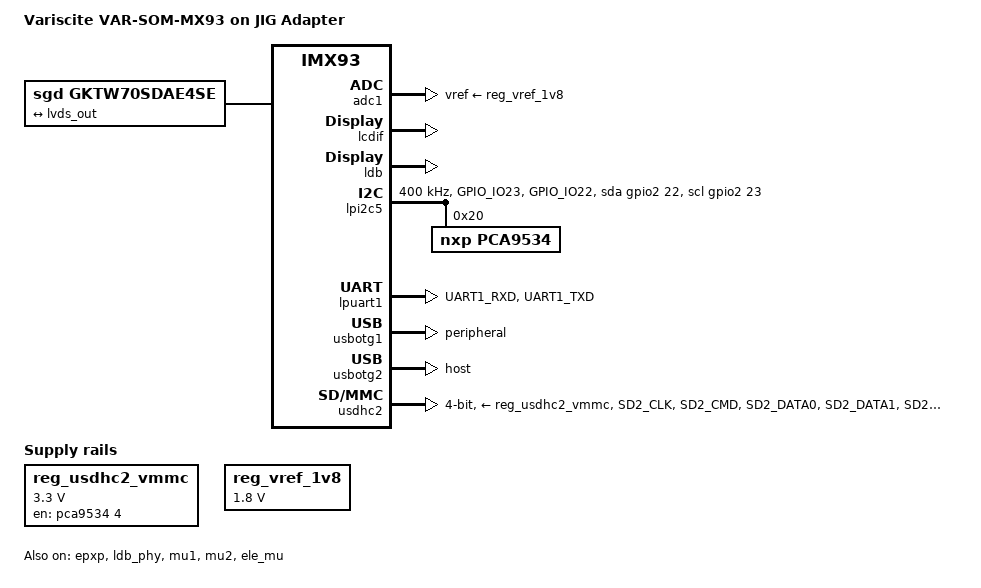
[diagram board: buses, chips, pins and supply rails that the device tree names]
// SPDX-License-Identifier: (GPL-2.0+ OR MIT)
/*
 * Copyright 2022 NXP
 * Copyright 2023 Variscite Ltd.
 */

/dts-v1/;

#include "imx93-var-som.dtsi"

/ {
	model = "Variscite VAR-SOM-MX93 on JIG Adapter";

	aliases {
		gpio4 = &pca9534;
		ethernet0 = &eqos;
	};

	chosen {
		stdout-path = &lpuart1;
	};

	cm33: imx93-cm33 {
		status="disable";
	};

	ethosu {
		status="disable";
	};

#if 0
	panel-dsi {
		compatible = "panel-lvds";
		width-mm = <153>;
		height-mm = <87>;
		label = "gktw70sdae4se";
		data-mapping = "vesa-24";
		status = "okay";

		panel-timing {
			clock-frequency = <33000000>;
			hactive = <800>;
			vactive = <480>;
			hback-porch = <40>;
			hfront-porch = <40>;
			vback-porch = <29>;
			vfront-porch = <13>;
			hsync-len = <48>;
			vsync-len = <3>;
			hsync-active = <0>;
			vsync-active = <0>;
			de-active = <1>;
			pixelclk-active = <0>;
		};

		port {
			panel_in_bridge: endpoint {
				remote-endpoint = <&panel_dsi_in>;
			};
		};
	};
#endif

	lvds_panel {
		compatible = "sgd,gktw70sdae4se", "panel-lvds";
		width-mm = <153>;
		height-mm = <87>;
		label = "gktw70sdae4se";
		data-mapping = "vesa-24";
		status = "okay";
		
		panel-timing {
			clock-frequency = <33000000>;
			hactive = <800>;
			vactive = <480>;
			hback-porch = <40>;
			hfront-porch = <40>;
			vback-porch = <29>;
			vfront-porch = <13>;
			hsync-len = <48>;
			vsync-len = <3>;
			hsync-active = <0>;
			vsync-active = <0>;
			de-active = <1>;
			pixelclk-active = <0>;
		};

		port {
			panel_lvds_in: endpoint {
				remote-endpoint = <&lvds_out>;
			};
		};
	};

	reg_usdhc2_vmmc: regulator-usdhc2 {
		compatible = "regulator-fixed";
		regulator-name = "VSD_3V3";
		regulator-min-microvolt = <3300000>;
		regulator-max-microvolt = <3300000>;
		gpio = <&pca9534 4 GPIO_ACTIVE_HIGH>;
		off-on-delay-us = <200000>;
		startup-delay-us = <200000>;
		enable-active-high;
	};

	reg_vref_1v8: regulator-adc-vref {
		compatible = "regulator-fixed";
		regulator-name = "vref_1v8";
		regulator-min-microvolt = <1800000>;
		regulator-max-microvolt = <1800000>;
	};

	reserved-memory {
		#address-cells = <2>;
		#size-cells = <2>;
		ranges;

		linux,cma {
			compatible = "shared-dma-pool";
			reusable;
			size = <0 0x4000000>;
			linux,cma-default;
		};

		ethosu_mem: ethosu_region@88000000 {
			compatible = "shared-dma-pool";
			reusable;
			reg = <0x0 0x88000000 0x0 0x8000000>;
		};

		vdev0vring0: vdev0vring0@87ee0000 {
			reg = <0 0x87ee0000 0 0x8000>;
			no-map;
		};

		vdev0vring1: vdev0vring1@87ee8000 {
			reg = <0 0x87ee8000 0 0x8000>;
			no-map;
		};

		vdev1vring0: vdev1vring0@87ef0000 {
			reg = <0 0x87ef0000 0 0x8000>;
			no-map;
		};

		vdev1vring1: vdev1vring1@87ef8000 {
			reg = <0 0x87ef8000 0 0x8000>;
			no-map;
		};

		rsc_table: rsc_table@2021f000 {
			reg = <0 0x2021f000 0 0x1000>;
			no-map;
		};

		vdevbuffer: vdevbuffer@87f00000 {
			compatible = "shared-dma-pool";
			reg = <0 0x87f00000 0 0x100000>;
			no-map;
		};
	};

	clk_ov5640_fixed: clock {
		#clock-cells = <0>;
		compatible = "fixed-clock";
		clock-frequency = <12000000>;
	};
};

&adc1 {
	vref-supply = <&reg_vref_1v8>;
	status = "okay";
};

/* Use external instead of internal RTC*/
&bbnsm_rtc {
	status = "disabled";
};

&epxp {
	status = "okay";
};

&iomuxc {
	pinctrl-names = "default";
	pinctrl-0 = <&pinctrl_hog>;
	
	pinctrl_hog: hoggrp {
		fsl,pins = <
			MX93_PAD_WDOG_ANY__GPIO1_IO15			0x400011FE
			MX93_PAD_GPIO_IO26__GPIO2_IO26			0x400011FE
			MX93_PAD_GPIO_IO21__GPIO2_IO21			0x400011FE
			MX93_PAD_PDM_CLK__GPIO1_IO08			0x400011FE
			MX93_PAD_PDM_BIT_STREAM0__GPIO1_IO09		0x400011FE
			MX93_PAD_GPIO_IO18__GPIO2_IO18			0x400011FE
			MX93_PAD_GPIO_IO10__GPIO2_IO10			0x400011FE
			MX93_PAD_GPIO_IO25__GPIO2_IO25			0x400011FE
			MX93_PAD_PDM_BIT_STREAM1__GPIO1_IO10		0x400011FE
			MX93_PAD_SD2_CD_B__GPIO3_IO00			0x400011FE
			MX93_PAD_GPIO_IO17__GPIO2_IO17			0x400011FE
			MX93_PAD_I2C1_SDA__GPIO1_IO01			0x400011FE
			MX93_PAD_I2C1_SCL__GPIO1_IO00			0x400011FE
			MX93_PAD_GPIO_IO07__GPIO2_IO07			0x400011FE
			MX93_PAD_GPIO_IO06__GPIO2_IO06			0x400011FE
			MX93_PAD_GPIO_IO08__GPIO2_IO08			0x400011FE
			MX93_PAD_GPIO_IO24__GPIO2_IO24			0x400011FE
			MX93_PAD_GPIO_IO20__GPIO2_IO20			0x400011FE
			MX93_PAD_GPIO_IO19__GPIO2_IO19			0x400011FE
			MX93_PAD_GPIO_IO16__GPIO2_IO16			0x400011FE
			MX93_PAD_GPIO_IO00__GPIO2_IO00			0x400011FE
			MX93_PAD_GPIO_IO01__GPIO2_IO01			0x400011FE
			MX93_PAD_GPIO_IO03__GPIO2_IO03			0x400011FE
			MX93_PAD_GPIO_IO02__GPIO2_IO02			0x400011FE
			MX93_PAD_GPIO_IO27__GPIO2_IO27			0x400011FE
			MX93_PAD_GPIO_IO11__GPIO2_IO11			0x400011FE
			MX93_PAD_GPIO_IO09__GPIO2_IO09			0x400011FE
			MX93_PAD_GPIO_IO05__GPIO2_IO05			0x400011FE
			MX93_PAD_GPIO_IO04__GPIO2_IO04			0x400011FE
			
			MX93_PAD_CCM_CLKO2__GPIO3_IO27			0x400011FE
			MX93_PAD_ENET2_RD3__GPIO4_IO27			0x400011FE
			MX93_PAD_ENET2_TD2__GPIO4_IO17			0x400011FE
			MX93_PAD_ENET2_TXC__GPIO4_IO21			0x400011FE
			MX93_PAD_ENET2_RX_CTL__GPIO4_IO22		0x400011FE
			MX93_PAD_ENET2_RD0__GPIO4_IO24			0x400011FE
			MX93_PAD_ENET2_RD0__GPIO4_IO24			0x400011FE
			MX93_PAD_CCM_CLKO1__GPIO3_IO26			0x400011FE
			MX93_PAD_ENET2_TD1__GPIO4_IO18			0x400011FE
			MX93_PAD_ENET2_TD3__GPIO4_IO16			0x400011FE
			MX93_PAD_ENET2_RXC__GPIO4_IO23			0x400011FE
			MX93_PAD_ENET2_RD2__GPIO4_IO26			0x400011FE
			MX93_PAD_ENET2_TD0__GPIO4_IO19			0x400011FE
			MX93_PAD_CCM_CLKO3__GPIO4_IO28			0x400011FE
			MX93_PAD_ENET2_RD1__GPIO4_IO25			0x400011FE
			MX93_PAD_ENET2_TX_CTL__GPIO4_IO20		0x400011FE
		>;
	};

	pinctrl_lpi2c5: lpi2c5grp {
		fsl,pins = <
			MX93_PAD_GPIO_IO23__LPI2C5_SCL			0x40000b9e
			MX93_PAD_GPIO_IO22__LPI2C5_SDA			0x40000b9e
		>;
	};

	pinctrl_lpi2c5_gpio: lpi2c5grp-gpio {
		fsl,pins = <
			MX93_PAD_GPIO_IO23__GPIO2_IO23			0x31e
			MX93_PAD_GPIO_IO22__GPIO2_IO22			0x31e
		>;
	};

	pinctrl_uart1: uart1grp {
		fsl,pins = <
			MX93_PAD_UART1_RXD__LPUART1_RX			0x31e
			MX93_PAD_UART1_TXD__LPUART1_TX			0x31e
		>;
	};

	pinctrl_usdhc2: usdhc2grp {
		fsl,pins = <
			MX93_PAD_SD2_CLK__USDHC2_CLK		0x15fe
			MX93_PAD_SD2_CMD__USDHC2_CMD		0x13fe
			MX93_PAD_SD2_DATA0__USDHC2_DATA0	0x13fe
			MX93_PAD_SD2_DATA1__USDHC2_DATA1	0x13fe
			MX93_PAD_SD2_DATA2__USDHC2_DATA2	0x13fe
			MX93_PAD_SD2_DATA3__USDHC2_DATA3	0x13fe
			MX93_PAD_SD2_VSELECT__USDHC2_VSELECT	0x51e
		>;
	};

	pinctrl_lpspi8: lpspi8grp {
		fsl,pins = <
			MX93_PAD_GPIO_IO12__LPSPI8_PCS0			0x31e
			MX93_PAD_GPIO_IO13__LPSPI8_SIN			0x31e
			MX93_PAD_GPIO_IO14__LPSPI8_SOUT			0x31e
			MX93_PAD_GPIO_IO15__LPSPI8_SCK			0x31e
		>;
	};
};

&lcdif {
	status = "okay";
	assigned-clock-rates = <484000000>, <121000000>, <400000000>, <133333333>;
};

#if 0
&dsi {
	status = "okay";
	ports {
		port@1 {
			reg = <1>;
			dsi_out: endpoint {
				remote-endpoint = <&bridge_in_dsi>;
			};
		};
	};
};


&dphy {
	status = "okay";
};
#endif

&ldb {
	status = "okay";

	lvds-channel@0 {
		status = "okay";

		port@1 {
			reg = <1>;

			lvds_out: endpoint {
				remote-endpoint = <&panel_lvds_in>;
			};
		};
	};
};

&ldb_phy {
	status = "okay";
};

&lpi2c5 {
	#address-cells = <1>;
	#size-cells = <0>;
	clock-frequency = <400000>;
	pinctrl-names = "default", "sleep", "gpio";
	pinctrl-0 = <&pinctrl_lpi2c5>;
	pinctrl-1 = <&pinctrl_lpi2c5_gpio>;
	pinctrl-2 = <&pinctrl_lpi2c5_gpio>;
	scl-gpios = <&gpio2 23 GPIO_ACTIVE_HIGH>;
	sda-gpios = <&gpio2 22 GPIO_ACTIVE_HIGH>;
	status = "okay";

	pca9534: gpio@20 {
		status = "okay";
		compatible = "nxp,pca9534";
		reg = <0x20>;
		gpio-controller;
		#gpio-cells = <2>;

#if 0
		dsi_test_hog {
			gpio-hog;
			gpios = <0 0>;
			output-high;
			line-name = "dsi_test_en";
		};

		dsim_disable_hog {
			gpio-hog;
			gpios = <1 0>;
			output-low;
			line-name = "dsi_test_en";
		};

		dsi_bridge_hog {
			gpio-hog;
			gpios = <6 0>;
			output-high;
			line-name = "dsi_brg_en";
		};
#endif
	};
	
#if 0
	dsi_lvds_bridge: sn65dsi84@2c {
		compatible = "ti,sn65dsi84";
		reg = <0x2c>;
		enable-gpios = <&gpio4 20 GPIO_ACTIVE_HIGH>;
		status = "okay";
		ports {
			#address-cells = <1>;
			#size-cells = <0>;

			port@0 {
				reg = <0>;

				bridge_in_dsi:endpoint {
					remote-endpoint = <&dsi_out>;
					data-lanes = <1 2 3 4>;
				};
			};

			port@2 {
				reg = <2>;

				panel_dsi_in:endpoint {
					remote-endpoint = <&panel_in_bridge>;
				};
			};
		};
	};
#endif
	
	ov5640: camera@3c {
		compatible = "ovti,ov5640";
		reg = <0x3c>;
		status = "disabled";

		clocks = <&clk_ov5640_fixed>;
		clock-names = "xclk";

		csi_id = <0>;
		mclk = <24000000>;
		mclk_source = <0>;
		mipi_csi;
	};
	
};

/* Console */
&lpuart1 {
	pinctrl-names = "default";
	pinctrl-0 = <&pinctrl_uart1>;
	status = "okay";
};

&mu1 {
	status = "okay";
};

&mu2 {
	status = "okay";
};

&usbotg1 {
	dr_mode = "peripheral";
	status = "okay";
};

&usbotg2 {
	disable-over-current;
	dr_mode = "host";
	status = "okay";
};

/* SD */
&usdhc2 {
	pinctrl-names = "default", "state_100mhz", "state_200mhz";
	pinctrl-0 = <&pinctrl_usdhc2>;
	pinctrl-1 = <&pinctrl_usdhc2>;
	pinctrl-2 = <&pinctrl_usdhc2>;
	
	vmmc-supply = <&reg_usdhc2_vmmc>;
	broken-cd;
	bus-width = <4>;
	status = "okay";
	no-mmc;
	ni-sdio;
};

&ele_mu {
	status = "okay";
};

&lpspi8 {
	cs-gpios = <0>;
	num-cs = <1>;
};
